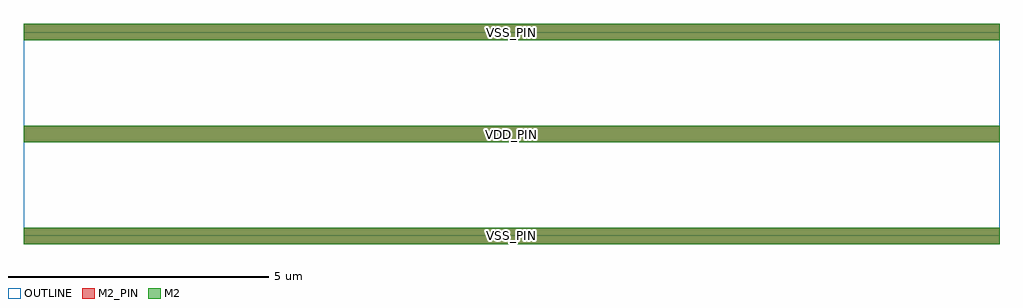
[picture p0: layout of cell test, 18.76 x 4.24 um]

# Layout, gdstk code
import gdstk
lib = gdstk.Library(unit=1e-6, precision=1e-09)
def R(c, l, rs):  # rectangles x0, y0, x1, y1
    for r in rs: c.add(gdstk.rectangle(r[:2], r[2:], *l))
def A(c, l, x, y, w, h, nx, ny, dx, dy):  # array of equal rectangles
    R(c, l, [(x+i*dx, y+j*dy, x+i*dx+w, y+j*dy+h) for i in range(nx) for j in range(ny)])
M2 = (12, 0)
M2_PIN = (12, 2)
OUTLINE = (13, 0)

test = lib.new_cell('test')
A(test, M2_PIN, 0, -0.16, 18.76, 0.32, 1, 3, 0, 1.96)
R(test, OUTLINE, [(0,0,18.76,3.92)])
test.add(gdstk.FlexPath([(0,1.96),(18.76,1.96)], 0.32, ends="flush", simple_path=True, layer=12, datatype=0))  # M2
test.add(gdstk.FlexPath([(0,0),(18.76,0)], 0.32, ends="flush", simple_path=True, layer=12, datatype=0))  # M2
test.add(gdstk.FlexPath([(0,3.92),(18.76,3.92)], 0.32, ends="flush", simple_path=True, layer=12, datatype=0))  # M2
test.add(gdstk.Label('VSS_PIN', (9.38,0), layer=12, texttype=1))
test.add(gdstk.Label('VSS_PIN', (9.38,3.92), layer=12, texttype=1))
test.add(gdstk.Label('VDD_PIN', (9.38,1.96), layer=12, texttype=1))

lib.write_gds('test.gds')
